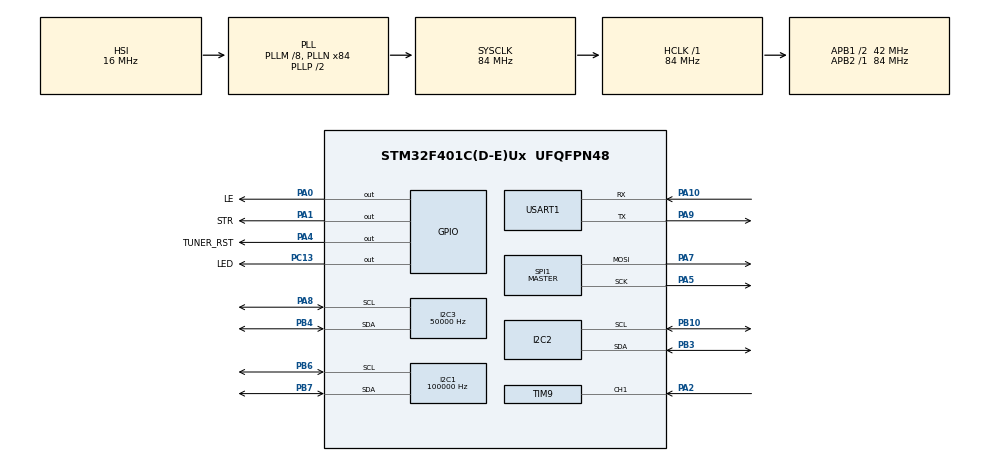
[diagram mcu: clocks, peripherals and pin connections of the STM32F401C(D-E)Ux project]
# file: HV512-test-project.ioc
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I2C1.ClockSpeed=100000
I2C1.I2C_Mode=I2C_Standard
I2C3.ClockSpeed=50000
IWDG.Prescaler=IWDG_PRESCALER_64
IWDG.Reload=1500
Mcu.Family=STM32F4
Mcu.Name=STM32F401C(D-E)Ux
Mcu.Package=UFQFPN48
NVIC.PriorityGroup=NVIC_PRIORITYGROUP_4
NVIC.TIM1_BRK_TIM9_IRQn=true\:0\:0\:false\:false\:true\:true\:true\:true
NVIC.TIM1_TRG_COM_TIM11_IRQn=true\:0\:0\:false\:false\:true\:true\:true\:true
NVIC.TIM2_IRQn=true\:0\:0\:false\:false\:true\:true\:true\:true
PA0-WKUP.GPIO_Label=LE
PA0-WKUP.Signal=GPIO_Output
PA1.GPIO_Label=STR
PA1.Signal=GPIO_Output
PA10.Mode=Asynchronous
PA10.Signal=USART1_RX
PA2.Signal=S_TIM9_CH1
PA4.GPIO_Label=TUNER_RST
PA4.PinState=GPIO_PIN_RESET
PA4.Signal=GPIO_Output
PA5.Mode=TX_Only_Simplex_Unidirect_Master
PA5.Signal=SPI1_SCK
PA7.Mode=TX_Only_Simplex_Unidirect_Master
PA7.Signal=SPI1_MOSI
PA8.Mode=I2C
PA8.Signal=I2C3_SCL
PA9.Mode=Asynchronous
PA9.Signal=USART1_TX
PB10.Mode=I2C
PB10.Signal=I2C2_SCL
PB3.Mode=I2C
PB3.Signal=I2C2_SDA
PB4.Mode=I2C
PB4.Signal=I2C3_SDA
PB6.Mode=I2C
PB6.Signal=I2C1_SCL
PB7.Mode=I2C
PB7.Signal=I2C1_SDA
PC13-ANTI_TAMP.GPIO_Label=LED
PC13-ANTI_TAMP.Signal=GPIO_Output
ProjectManager.HeapSize=0x200
ProjectManager.StackSize=0x400
ProjectManager.TargetToolchain=STM32CubeIDE
RCC.48MHZClocksFreq_Value=42000000
RCC.AHBFreq_Value=84000000
RCC.APB1CLKDivider=RCC_HCLK_DIV2
RCC.APB1Freq_Value=42000000
RCC.APB1TimFreq_Value=84000000
RCC.APB2Freq_Value=84000000
RCC.APB2TimFreq_Value=84000000
RCC.CortexFreq_Value=84000000
RCC.HCLKFreq_Value=84000000
RCC.HSE_VALUE=25000000
RCC.HSI_VALUE=16000000
RCC.LSE_VALUE=32768
RCC.PLLM=8
RCC.PLLN=84
RCC.SYSCLKFreq_VALUE=84000000
RCC.SYSCLKSource=RCC_SYSCLKSOURCE_PLLCLK
RCC.VCOOutputFreq_Value=168000000
SH.S_TIM9_CH1.0=TIM9_CH1,Input_Capture1_from_TI1
SPI1.BaudRatePrescaler=SPI_BAUDRATEPRESCALER_8
SPI1.Direction=SPI_DIRECTION_2LINES
SPI1.Mode=SPI_MODE_MASTER
SPI1.VirtualType=VM_MASTER
TIM11.AutoReloadPreload=TIM_AUTORELOAD_PRELOAD_ENABLE
TIM11.Period=1000-1
TIM11.Prescaler=84-1
TIM2.AutoReloadPreload=TIM_AUTORELOAD_PRELOAD_ENABLE
TIM2.Period=299
TIM2.Prescaler=83
TIM9.Channel-Input_Capture1_from_TI1=TIM_CHANNEL_1
TIM9.ICPolarity_CH1=TIM_INPUTCHANNELPOLARITY_FALLING
TIM9.Prescaler=84-1
USART1.VirtualMode=VM_ASYNC
VP_IWDG_VS_IWDG.Mode=IWDG_Activate
VP_TIM11_VS_ClockSourceINT.Mode=Enable_Timer
VP_TIM2_VS_ClockSourceINT.Mode=Internal
board=custom

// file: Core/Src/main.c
/* USER CODE BEGIN Header */
/**
  ******************************************************************************
  * @file           : main.c
  * @brief          : Main program body
  ******************************************************************************
  * @attention
  *
  * Copyright (c) 2025 STMicroelectronics.
  * All rights reserved.
  *
  * This software is licensed under terms that can be found in the LICENSE file
  * in the root directory of this software component.
  * If no LICENSE file comes with this software, it is provided AS-IS.
  *
  ******************************************************************************
  */
/* USER CODE END Header */
#include "main.h"

/* USER CODE BEGIN Includes */
#include "stm32f4xx_hal.h"
#include "vfd_driver.h"
#include "millis.h"
#include "task_scheduler.h"
#include "sensor_config.h"
#include "sensor_manager.h"
#include "app_states.h"
#include "app_display.h"
#include "app_ir_handlers.h"
#include "app_ir.h"
#include "ir_config.h"
#include "eeprom.h"
#include "ds3232.h"
#include "tef6686.h"
#include <stdio.h>

/* USER CODE END Includes */

I2C_HandleTypeDef hi2c1;
I2C_HandleTypeDef hi2c2;
I2C_HandleTypeDef hi2c3;

IWDG_HandleTypeDef hiwdg;

SPI_HandleTypeDef hspi1;

TIM_HandleTypeDef htim2;
TIM_HandleTypeDef htim9;
TIM_HandleTypeDef htim11;

UART_HandleTypeDef huart1;

/* USER CODE BEGIN PV */
extern uint32_t radio_msg_end;

/* USER CODE END PV */

void SystemClock_Config(void);
static void MX_GPIO_Init(void);
static void MX_SPI1_Init(void);
static void MX_TIM2_Init(void);
static void MX_TIM11_Init(void);
static void MX_I2C2_Init(void);
static void MX_I2C3_Init(void);
static void MX_TIM9_Init(void);
static void MX_USART1_UART_Init(void);
static void MX_I2C1_Init(void);
static void MX_IWDG_Init(void);

/* USER CODE BEGIN 0 */

static void Task_SensorManager(void) { SensorManager_Process(); }
static void Task_DisplayPrepare(void) { APP_Display_PrepareValues(); }

static void Task_StateMachine(void) {
	Radio_Seek_Service();
	StateMachine_Process();
}

static void Task_IR_Process(void) {
    APP_IR_Process(); // Декодирует сигналы и помещает события в очередь
    IR_ProcessEvents(); // Обрабатывает события из очереди
}

static void Task_Render(void) {
	Display_RenderBuffer();
    if (StateMachine_GetState() == STATE_RADIO) {
        update_radio_indicators();
    }
}

// Задача для обновления индикаторов радио (вызывается каждые 1000 мс)
static void RadioIndicatorsTask(void) {
}

static void RDS_Task(void) {
    if (StateMachine_GetState() == STATE_RADIO) {
        Radio_ProcessRDS();
    }
}

// Функция сканирования I2C шины
static void I2C_Scan(I2C_HandleTypeDef *hi2c, const char *bus_name) {
    char msg[32];
    snprintf(msg, sizeof(msg), "Scan %s...", bus_name);
    Display_PrintString(0, msg);
#ifdef IR_DEBUG
    IR_DebugPrint(&ir_decoder, "%s\r\n", msg);
#endif

    uint8_t found = 0;
    for (uint8_t addr = 1; addr < 127; addr++) {
        if (HAL_I2C_IsDeviceReady(hi2c, addr << 1, 3, 50) == HAL_OK) {
            found = 1;
            snprintf(msg, sizeof(msg), "Found: 0x%02X", addr);
            Display_PrintString(0, msg);
#ifdef IR_DEBUG
            IR_DebugPrint(&ir_decoder, "Device at 0x%02X\r\n", addr);
#endif
            HAL_Delay(800); // пауза, чтобы увидеть на дисплее
        }
    }
    if (!found) {
        Display_PrintString(0, "No devices");
#ifdef IR_DEBUG
        IR_DebugPrint(&ir_decoder, "No devices found\r\n");
#endif
    }
    HAL_Delay(1500);
}

static void EEPROM_FullTest(void) {
    char msg[32];
    Display_PrintString(0, "EEPROM test...");
    HAL_Delay(1000);

    uint16_t errors = 0;
    uint8_t write_byte, read_byte;

    for (uint16_t addr = 0; addr < EEPROM_SIZE; addr++) {
        write_byte = (uint8_t)(addr & 0xFF);
        if (EEPROM_WriteByte(addr, write_byte) != HAL_OK) {
            errors++;
            continue;
        }
        HAL_Delay(5); // задержка на внутреннюю запись (макс 5 мс)

        if (EEPROM_ReadByte(addr, &read_byte) != HAL_OK) {
            errors++;
            continue;
        }
        if (read_byte != write_byte) {
            errors++;
        }

        // Индикация прогресса каждые 1024 байта
        if ((addr + 1) % 1024 == 0) {
            snprintf(msg, sizeof(msg), "Addr: %d", addr + 1);
            Display_PrintString(0, msg);
        }
    }

    if (errors == 0) {
        snprintf(msg, sizeof(msg), "OK, %d", EEPROM_SIZE);
    } else {
        snprintf(msg, sizeof(msg), "Errors: %d", errors);
    }
    Display_PrintString(0, msg);
    HAL_Delay(5000);
}

/*void Task_ArchiveData(void) {
    static uint32_t last_archive_check = 0;
    uint32_t now = Millis_Get() / 1000;
    uint32_t current_hour = now / 3600;
    if (current_hour != last_archive_check) {
        last_archive_check = current_hour;
        Sensor_t *bme = SensorManager_GetSensor("BME280");
        if (bme && bme->status == SENSOR_OK) {
            float t = bme->get_value(bme->instance, 0);
            float h = bme->get_value(bme->instance, 1);
            float p = bme->get_value(bme->instance, 2);
            Archive_AddEntry(t, h, p);
        }
    }
}*/

void Task_ArchiveData(void) {
    Sensor_t *bme = SensorManager_GetSensor("BME280");
    if (bme && bme->status == SENSOR_OK) {
        float t = bme->get_value(bme->instance, 0);
        float h = bme->get_value(bme->instance, 1);
        float p = bme->get_value(bme->instance, 2);
        //IR_DebugPrint(&ir_decoder, "Archive call: T=%.2f, H=%.1f, P=%.2f\n", t, h, p);
        Archive_AddEntry(t, h, p);   //
        //Archive_AddEntry(22.72f, 42.5f, 988.39f);
    } else {
        IR_DebugPrint(&ir_decoder, "BME280 not ready\n");
    }
}

void I2C_UnbusyReset(void) {
    GPIO_InitTypeDef gpio = {0};
    // Перенастроить пины как обычный GPIO Output Open-Drain
    gpio.Pin = GPIO_PIN_6 | GPIO_PIN_7; // ваши пины
    gpio.Mode = GPIO_MODE_OUTPUT_OD;
    gpio.Pull = GPIO_NOPULL;
    gpio.Speed = GPIO_SPEED_FREQ_LOW;
    HAL_GPIO_Init(GPIOB, &gpio);

    // Генерируем 9 тактов на SCL, пока SDA отпущена
    for (int i = 0; i < 9; i++) {
        HAL_GPIO_WritePin(GPIOB, GPIO_PIN_6, GPIO_PIN_SET);   // SCL = 1
        HAL_Delay(1);
        HAL_GPIO_WritePin(GPIOB, GPIO_PIN_6, GPIO_PIN_RESET); // SCL = 0
        HAL_Delay(1);
    }
    // Формируем STOP условие: SDA = 0, SCL = 1, SDA = 1
    HAL_GPIO_WritePin(GPIOB, GPIO_PIN_7, GPIO_PIN_RESET);
    HAL_GPIO_WritePin(GPIOB, GPIO_PIN_6, GPIO_PIN_SET);
    HAL_Delay(1);
    HAL_GPIO_WritePin(GPIOB, GPIO_PIN_7, GPIO_PIN_SET);
    HAL_Delay(1);

    // Возвращаем пины в режим Alternate Function
    MX_I2C1_Init(); // ваша функция инициализации I2C
}

void I2C_ForceReset(void) {
    // 1. Полностью отключаем I2C-периферию
    HAL_I2C_DeInit(&hi2c1);

    // 2. Принудительно переводим пины SCL и SDA в режим входа (Input)
    //    Это "отпустит" линии, сняв с них низкий уровень от MCU.
    GPIO_InitTypeDef gpio_init = {0};
    gpio_init.Pin = GPIO_PIN_6 | GPIO_PIN_7; // Укажите ваши пины SCL/SDA
    gpio_init.Mode = GPIO_MODE_INPUT;
    gpio_init.Pull = GPIO_NOPULL;
    HAL_GPIO_Init(GPIOB, &gpio_init); //

    HAL_Delay(100);

    // 3. Повторно инициализируем I2C с корректными настройками
    MX_I2C1_Init(); // Или HAL_I2C_Init(&hi2c1);
}

// Передаем просто числа, чтобы не зависеть от инклудов и структур
void Alarm_Check_Task(void) {
    // 1. Проверка Snooze (используем внешние переменные)
    extern bool is_snooze_active;
    extern uint32_t snooze_time_ms;
    DS3232_Time rtc_time; // Создаем структуру

    if (is_snooze_active) {
        if (Millis_Get() >= snooze_time_ms) {
            is_snooze_active = false;
            StateMachine_SetState(STATE_ALARM_RINGING);
            return;
        }
    }

    if (DS3232_GetTime(&rtc_time) == HAL_OK) {
        // Теперь передаем в будильник ГАРАНТИРОВАННО верные данные
        // h, m, weekday
    	uint32_t h = rtc_time.hour;
    	uint32_t m = rtc_time.minute;
    	uint32_t wd = rtc_time.weekday;

		// 2. Проверка будильников
		static uint8_t last_min = 61;
		if (m == last_min) return;
		last_min = m;

		// Сдвигаем логику проверки в app_states.c или подключаем структуру
		// Но проще вызвать внешнюю функцию, которая "знает" про alarm_db
		IR_DebugPrint(&ir_decoder, "Check alarm - %02d:%02d %02d\n", h, m, wd);
		Alarm_Check_Logic(h, m, wd);
    }
}

/* USER CODE END 0 */

int main(void)
{

  /* MCU Configuration--------------------------------------------------------*/

  /* Reset of all peripherals, Initializes the Flash interface and the Systick. */
  HAL_Init();

  /* Configure the system clock */
  SystemClock_Config();

  /* Initialize all configured peripherals */
  MX_GPIO_Init();
  MX_SPI1_Init();
  MX_TIM2_Init();
  MX_TIM11_Init();
  MX_I2C2_Init();
  MX_I2C3_Init();
  MX_TIM9_Init();
  MX_USART1_UART_Init();
  MX_I2C1_Init();
  MX_IWDG_Init();
  /* USER CODE BEGIN 2 */

    HAL_GPIO_WritePin(GPIOC, LED_Pin, GPIO_PIN_RESET);
    Display_Init();

    Millis_Init(&htim11);

    // Инициализация датчиков
    SENSOR_InitAll();

    // Инициализация очереди
    //IR_Event_Queue_Init();

    // Инициализация планировщика
    TaskScheduler_Init();
    TaskScheduler_AddTask(Task_SensorManager, 10, "Sensors");
    TaskScheduler_AddTask(Task_DisplayPrepare, 250, "Display");
    TaskScheduler_AddTask(Task_StateMachine, 10, "StateMachine");
    TaskScheduler_AddTask(Task_IR_Process, 10, "IR");
    TaskScheduler_AddTask(RDS_Task, 200, "RDS");               // добавлена задача RDS
    //TaskScheduler_AddTask(RadioIndicatorsTask, 1000, "RadioInd");
    TaskScheduler_AddTask(Task_ArchiveData, 60000, "Archive");
    TaskScheduler_AddTask(Alarm_Check_Task, 6000, "Alarm");
    TaskScheduler_AddTask(Task_Render, 50, "Render");

    // Инициализация автомата состояний
    APP_States_Init();

    // Инициализация ИК-приёмника
    APP_IR_Init();

    // Инициализация архива
    Archive_Init();

    // Инициализация будильника
    Alarm_Init();

    // Устанавливаем стартовое состояние (Часы) и сразу зажигаем нужные иконки
    StateMachine_SetState(STATE_MAIN);

    //Archive_Reset();

    //EEPROM_FullErase();
    //EEPROM_FullTest();

    //Archive_DebugDump();
    //Archive_DebugDump();
    //HAL_Delay(3000);
    //Archive_DumpFull();

    //I2C_ForceReset();

    //HAL_Delay(3000);

    // Сканирование шины hi2c1 (TEF6686)
    //I2C_Scan(&hi2c1, "I2C1");
    // Сканирование шины hi2c2 (DS3231, 24C256)
    //I2C_Scan(&hi2c2, "I2C2");
    // Сканирование шины hi2c3 (VEML7700)
    //I2C_Scan(&hi2c3, "I2C3");

    //if (HAL_I2C_IsDeviceReady(&hi2c1, 0x11 << 1, 3, 100) == HAL_OK) {
    //    IR_DebugPrint(&ir_decoder, "Radio module found at 0x11\n");
        //I2C_UnbusyReset();
    //} else {
    //    IR_DebugPrint(&ir_decoder, "Radio module NOT found at 0x11\n");
    //}

    //Sensor_t *bme = SensorManager_GetSensor("BME280");
    //if (bme) IR_DebugPrint(&ir_decoder, "BME280 status: %d\n", bme->status);

    // Принудительно зажжём пиктограммы
    /*for (int g = 0; g < 4; g++) {
        for (int p = 0; p < 20; p++) {
            set_pictogram(g, p);
        }
    }
    HAL_Delay(5000);
    // Погасим
    for (int g = 0; g < 4; g++) {
        for (int p = 0; p < 20; p++) {
            clear_pictogram(g, p);
        }
    }*/

    __HAL_IWDG_START(&hiwdg);
    IR_DebugPrint(&ir_decoder, "✅ IWDG Started (Timeout: ~3 sec)\n");

  /* USER CODE END 2 */

  /* Infinite loop */
  while (1)
  {

    /* USER CODE BEGIN 3 */
	    HAL_IWDG_Refresh(&hiwdg);

	    uint16_t a; uint8_t c;
	    if (APP_IR_GetCommand(&a, &c)) {
	        if (a == 0x010E && c == 0x01) {
	            SystemState_t current = StateMachine_GetState();
	            if (current == STATE_RADIO) {
	                radio_show_message("Radio Off", 2000);
	                radio_msg_end = Millis_Get() + 2000;
	            } else if (current == STATE_EDIT_ALARM || current == STATE_ALARM_SELECT_RADIO) {
	                Alarm_Init();
	            }

	            if (current == STATE_RADIO || current == STATE_EDIT_ALARM || current == STATE_ALARM_SELECT_RADIO) {
	                Radio_Mute(true);
	                Radio_PowerOff();
	                TaskScheduler_SetTaskEnabled("RDS", false);
	                enable_sensor("BME280", true, 0);
	                enable_sensor("DS3231", true, 0);
	            }

	            is_snooze_active = false;
	            StateMachine_SetState(STATE_MAIN);
	            continue;
	        }
	        APP_IR_PushBack(a, c);
	    }

	    StateMachine_Process();
	    TaskScheduler_Run();
	    __WFI();               // переход в режим пониженного энергопотребления
  }
  /* USER CODE END 3 */
}

void SystemClock_Config(void)
{
  RCC_OscInitTypeDef RCC_OscInitStruct = {0};
  RCC_ClkInitTypeDef RCC_ClkInitStruct = {0};

  /** Configure the main internal regulator output voltage
  */
  __HAL_RCC_PWR_CLK_ENABLE();
  __HAL_PWR_VOLTAGESCALING_CONFIG(PWR_REGULATOR_VOLTAGE_SCALE2);

  /** Initializes the RCC Oscillators according to the specified parameters
  * in the RCC_OscInitTypeDef structure.
  */
  RCC_OscInitStruct.OscillatorType = RCC_OSCILLATORTYPE_HSI|RCC_OSCILLATORTYPE_LSI;
  RCC_OscInitStruct.HSIState = RCC_HSI_ON;
  RCC_OscInitStruct.HSICalibrationValue = RCC_HSICALIBRATION_DEFAULT;
  RCC_OscInitStruct.LSIState = RCC_LSI_ON;
  RCC_OscInitStruct.PLL.PLLState = RCC_PLL_ON;
  RCC_OscInitStruct.PLL.PLLSource = RCC_PLLSOURCE_HSI;
  RCC_OscInitStruct.PLL.PLLM = 8;
  RCC_OscInitStruct.PLL.PLLN = 84;
  RCC_OscInitStruct.PLL.PLLP = RCC_PLLP_DIV2;
  RCC_OscInitStruct.PLL.PLLQ = 4;
  if (HAL_RCC_OscConfig(&RCC_OscInitStruct) != HAL_OK)
  {
    Error_Handler();
  }

  /** Initializes the CPU, AHB and APB buses clocks
  */
  RCC_ClkInitStruct.ClockType = RCC_CLOCKTYPE_HCLK|RCC_CLOCKTYPE_SYSCLK
                              |RCC_CLOCKTYPE_PCLK1|RCC_CLOCKTYPE_PCLK2;
  RCC_ClkInitStruct.SYSCLKSource = RCC_SYSCLKSOURCE_PLLCLK;
  RCC_ClkInitStruct.AHBCLKDivider = RCC_SYSCLK_DIV1;
  RCC_ClkInitStruct.APB1CLKDivider = RCC_HCLK_DIV2;
  RCC_ClkInitStruct.APB2CLKDivider = RCC_HCLK_DIV1;

  if (HAL_RCC_ClockConfig(&RCC_ClkInitStruct, FLASH_LATENCY_2) != HAL_OK)
  {
    Error_Handler();
  }
}

static void MX_I2C1_Init(void)
{

  hi2c1.Instance = I2C1;
  hi2c1.Init.ClockSpeed = 100000;
  hi2c1.Init.DutyCycle = I2C_DUTYCYCLE_2;
  hi2c1.Init.OwnAddress1 = 0;
  hi2c1.Init.AddressingMode = I2C_ADDRESSINGMODE_7BIT;
  hi2c1.Init.DualAddressMode = I2C_DUALADDRESS_DISABLE;
  hi2c1.Init.OwnAddress2 = 0;
  hi2c1.Init.GeneralCallMode = I2C_GENERALCALL_DISABLE;
  hi2c1.Init.NoStretchMode = I2C_NOSTRETCH_DISABLE;
  if (HAL_I2C_Init(&hi2c1) != HAL_OK)
  {
    Error_Handler();
  }

}

static void MX_I2C2_Init(void)
{

  hi2c2.Instance = I2C2;
  hi2c2.Init.ClockSpeed = 100000;
  hi2c2.Init.DutyCycle = I2C_DUTYCYCLE_2;
  hi2c2.Init.OwnAddress1 = 0;
  hi2c2.Init.AddressingMode = I2C_ADDRESSINGMODE_7BIT;
  hi2c2.Init.DualAddressMode = I2C_DUALADDRESS_DISABLE;
  hi2c2.Init.OwnAddress2 = 0;
  hi2c2.Init.GeneralCallMode = I2C_GENERALCALL_DISABLE;
  hi2c2.Init.NoStretchMode = I2C_NOSTRETCH_DISABLE;
  if (HAL_I2C_Init(&hi2c2) != HAL_OK)
  {
    Error_Handler();
  }

}

static void MX_I2C3_Init(void)
{

  hi2c3.Instance = I2C3;
  hi2c3.Init.ClockSpeed = 50000;
  hi2c3.Init.DutyCycle = I2C_DUTYCYCLE_2;
  hi2c3.Init.OwnAddress1 = 0;
  hi2c3.Init.AddressingMode = I2C_ADDRESSINGMODE_7BIT;
  hi2c3.Init.DualAddressMode = I2C_DUALADDRESS_DISABLE;
  hi2c3.Init.OwnAddress2 = 0;
  hi2c3.Init.GeneralCallMode = I2C_GENERALCALL_DISABLE;
  hi2c3.Init.NoStretchMode = I2C_NOSTRETCH_DISABLE;
  if (HAL_I2C_Init(&hi2c3) != HAL_OK)
  {
    Error_Handler();
  }

}

static void MX_IWDG_Init(void)
{

  hiwdg.Instance = IWDG;
  hiwdg.Init.Prescaler = IWDG_PRESCALER_64;
  hiwdg.Init.Reload = 1500;
  if (HAL_IWDG_Init(&hiwdg) != HAL_OK)
  {
    Error_Handler();
  }

}

static void MX_SPI1_Init(void)
{

  /* SPI1 parameter configuration*/
  hspi1.Instance = SPI1;
  hspi1.Init.Mode = SPI_MODE_MASTER;
  hspi1.Init.Direction = SPI_DIRECTION_2LINES;
  hspi1.Init.DataSize = SPI_DATASIZE_8BIT;
  hspi1.Init.CLKPolarity = SPI_POLARITY_LOW;
  hspi1.Init.CLKPhase = SPI_PHASE_1EDGE;
  hspi1.Init.NSS = SPI_NSS_SOFT;
  hspi1.Init.BaudRatePrescaler = SPI_BAUDRATEPRESCALER_8;
  hspi1.Init.FirstBit = SPI_FIRSTBIT_MSB;
  hspi1.Init.TIMode = SPI_TIMODE_DISABLE;
  hspi1.Init.CRCCalculation = SPI_CRCCALCULATION_DISABLE;
  hspi1.Init.CRCPolynomial = 10;
  if (HAL_SPI_Init(&hspi1) != HAL_OK)
  {
    Error_Handler();
  }

}

static void MX_TIM2_Init(void)
{

  TIM_ClockConfigTypeDef sClockSourceConfig = {0};
  TIM_MasterConfigTypeDef sMasterConfig = {0};

  htim2.Instance = TIM2;
  htim2.Init.Prescaler = 83;
  htim2.Init.CounterMode = TIM_COUNTERMODE_UP;
  htim2.Init.Period = 299;
  htim2.Init.ClockDivision = TIM_CLOCKDIVISION_DIV1;
  htim2.Init.AutoReloadPreload = TIM_AUTORELOAD_PRELOAD_ENABLE;
  if (HAL_TIM_Base_Init(&htim2) != HAL_OK)
  {
    Error_Handler();
  }
  sClockSourceConfig.ClockSource = TIM_CLOCKSOURCE_INTERNAL;
  if (HAL_TIM_ConfigClockSource(&htim2, &sClockSourceConfig) != HAL_OK)
  {
    Error_Handler();
  }
  sMasterConfig.MasterOutputTrigger = TIM_TRGO_RESET;
  sMasterConfig.MasterSlaveMode = TIM_MASTERSLAVEMODE_DISABLE;
  if (HAL_TIMEx_MasterConfigSynchronization(&htim2, &sMasterConfig) != HAL_OK)
  {
    Error_Handler();
  }
  /* USER CODE BEGIN TIM2_Init 2 */

  HAL_TIM_Base_Start_IT(&htim2);  // Таймер начнёт генерировать прерывания каждые 1 мс

  /* USER CODE END TIM2_Init 2 */

}

static void MX_TIM9_Init(void)
{

  TIM_IC_InitTypeDef sConfigIC = {0};

  htim9.Instance = TIM9;
  htim9.Init.Prescaler = 84-1;
  htim9.Init.CounterMode = TIM_COUNTERMODE_UP;
  htim9.Init.Period = 65535;
  htim9.Init.ClockDivision = TIM_CLOCKDIVISION_DIV1;
  htim9.Init.AutoReloadPreload = TIM_AUTORELOAD_PRELOAD_DISABLE;
  if (HAL_TIM_IC_Init(&htim9) != HAL_OK)
  {
    Error_Handler();
  }
  sConfigIC.ICPolarity = TIM_INPUTCHANNELPOLARITY_FALLING;
  sConfigIC.ICSelection = TIM_ICSELECTION_DIRECTTI;
  sConfigIC.ICPrescaler = TIM_ICPSC_DIV1;
  sConfigIC.ICFilter = 0;
  if (HAL_TIM_IC_ConfigChannel(&htim9, &sConfigIC, TIM_CHANNEL_1) != HAL_OK)
  {
    Error_Handler();
  }
  /* USER CODE BEGIN TIM9_Init 2 */

  // Включаем прерывания для обоих каналов
  __HAL_TIM_ENABLE_IT(&htim9, TIM_IT_CC1);
  HAL_NVIC_SetPriority(TIM1_BRK_TIM9_IRQn, 0, 0);
  HAL_NVIC_EnableIRQ(TIM1_BRK_TIM9_IRQn);

  // Запускаем таймер и оба канала захвата
  HAL_TIM_Base_Start(&htim9);
  HAL_TIM_IC_Start_IT(&htim9, TIM_CHANNEL_1);

  /* USER CODE END TIM9_Init 2 */

}

static void MX_TIM11_Init(void)
{

  htim11.Instance = TIM11;
  htim11.Init.Prescaler = 84-1;
  htim11.Init.CounterMode = TIM_COUNTERMODE_UP;
  htim11.Init.Period = 1000-1;
  htim11.Init.ClockDivision = TIM_CLOCKDIVISION_DIV1;
  htim11.Init.AutoReloadPreload = TIM_AUTORELOAD_PRELOAD_ENABLE;
  if (HAL_TIM_Base_Init(&htim11) != HAL_OK)
  {
    Error_Handler();
  }

}

static void MX_USART1_UART_Init(void)
{

  huart1.Instance = USART1;
  huart1.Init.BaudRate = 115200;
  huart1.Init.WordLength = UART_WORDLENGTH_8B;
  huart1.Init.StopBits = UART_STOPBITS_1;
  huart1.Init.Parity = UART_PARITY_NONE;
  huart1.Init.Mode = UART_MODE_TX_RX;
  huart1.Init.HwFlowCtl = UART_HWCONTROL_NONE;
  huart1.Init.OverSampling = UART_OVERSAMPLING_16;
  if (HAL_UART_Init(&huart1) != HAL_OK)
  {
    Error_Handler();
  }

}

static void MX_GPIO_Init(void)
{
  GPIO_InitTypeDef GPIO_InitStruct = {0};

  /* GPIO Ports Clock Enable */
  __HAL_RCC_GPIOC_CLK_ENABLE();
  __HAL_RCC_GPIOA_CLK_ENABLE();
  __HAL_RCC_GPIOB_CLK_ENABLE();

  /*Configure GPIO pin Output Level */
  HAL_GPIO_WritePin(LED_GPIO_Port, LED_Pin, GPIO_PIN_RESET);

  /*Configure GPIO pin Output Level */
  HAL_GPIO_WritePin(GPIOA, LE_Pin|STR_Pin|TUNER_RST_Pin, GPIO_PIN_RESET);

  /*Configure GPIO pin : LED_Pin */
  GPIO_InitStruct.Pin = LED_Pin;
  GPIO_InitStruct.Mode = GPIO_MODE_OUTPUT_PP;
  GPIO_InitStruct.Pull = GPIO_NOPULL;
  GPIO_InitStruct.Speed = GPIO_SPEED_FREQ_LOW;
  HAL_GPIO_Init(LED_GPIO_Port, &GPIO_InitStruct);

  /*Configure GPIO pins : LE_Pin STR_Pin TUNER_RST_Pin */
  GPIO_InitStruct.Pin = LE_Pin|STR_Pin|TUNER_RST_Pin;
  GPIO_InitStruct.Mode = GPIO_MODE_OUTPUT_PP;
  GPIO_InitStruct.Pull = GPIO_NOPULL;
  GPIO_InitStruct.Speed = GPIO_SPEED_FREQ_LOW;
  HAL_GPIO_Init(GPIOA, &GPIO_InitStruct);

}

/* USER CODE BEGIN 4 */

void HAL_TIM_PeriodElapsedCallback(TIM_HandleTypeDef *htim) {
    if (htim->Instance == TIM2) {
        APP_Display_Update();   // обновление дисплея
    }
    if (htim->Instance == TIM11) {
        Millis_Inc();           // счётчик миллисекунд
    }
}

void HAL_TIM_IC_CaptureCallback(TIM_HandleTypeDef *htim)
{
    if (htim->Instance == TIM9) {
        bool is_rising_edge = (TIM9->CCER & TIM_CCER_CC1P) == 0;
        __HAL_TIM_SET_CAPTUREPOLARITY(htim, TIM_CHANNEL_1,
            is_rising_edge ? TIM_ICPOLARITY_FALLING : TIM_ICPOLARITY_RISING);
        uint32_t timestamp = htim->Instance->CCR1;
        IR_NEC_ProcessEdge(&ir_decoder, is_rising_edge, timestamp);
    }
}

/* USER CODE END 4 */

void Error_Handler(void)
{
  __disable_irq();
  while (1)
  {
  }
}
